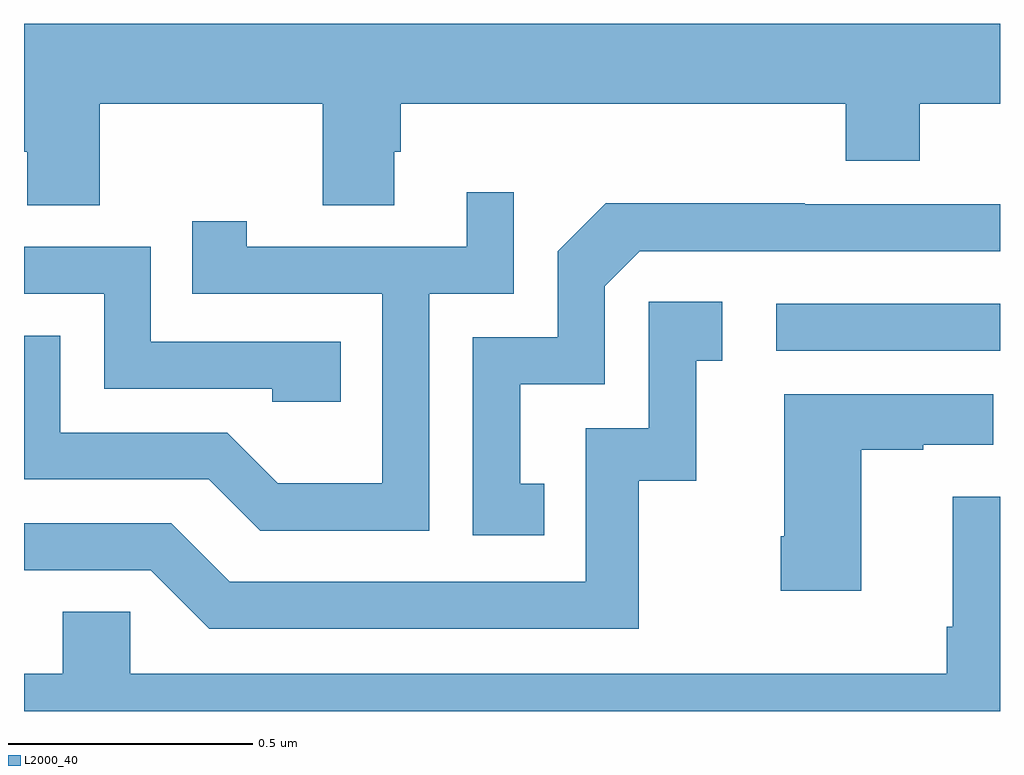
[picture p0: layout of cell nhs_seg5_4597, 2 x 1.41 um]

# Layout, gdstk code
import gdstk
lib = gdstk.Library(unit=1e-6, precision=1e-09)
def R(c, l, rs):  # rectangles x0, y0, x1, y1
    for r in rs: c.add(gdstk.rectangle(r[:2], r[2:], *l))
def P(c, l, *ps):  # polygons
    for p in ps: c.add(gdstk.Polygon(p, *l))
L2000_40 = (2000, 40)

nhs_seg5_4597 = lib.new_cell('nhs_seg5_4597')
R(nhs_seg5_4597, L2000_40, [(173.541,905.538,174,905.634)])
P(nhs_seg5_4597, L2000_40, [(172,905.946),(172.007,905.946),(172.007,905.836),(172.155,905.836),(172.155,906.044),(172.612,906.044),(172.612,905.836),(172.759,905.836),(172.759,905.946),(172.772,905.946),(172.772,906.044),(173.684,906.044),(173.684,905.927),(173.836,905.927),(173.836,906.044),(174,906.044),(174,906.208),(172,906.208)],
  [(172.83,905.655),(173.004,905.655),(173.004,905.863),(172.907,905.863),(172.907,905.751),(172.456,905.751),(172.456,905.803),(172.345,905.803),(172.345,905.655),(172.734,905.655),(172.734,905.266),(172.52,905.266),(172.416,905.37),(172.074,905.37),(172.074,905.569),(172,905.569),(172,905.274),(172.379,905.274),(172.484,905.169),(172.83,905.169)],
  [(173.066,905.265),(173.017,905.265),(173.017,905.469),(173.19,905.469),(173.19,905.67),(173.262,905.742),(174,905.742),(174,905.838),(173.6,905.838),(173.6,905.84),(173.192,905.84),(173.094,905.742),(173.094,905.565),(172.92,905.565),(172.92,905.16),(173.066,905.16)],
  [(172.649,905.556),(172.26,905.556),(172.26,905.751),(172,905.751),(172,905.655),(172.164,905.655),(172.164,905.46),(172.509,905.46),(172.509,905.433),(172.649,905.433)],
  [(173.26,905.271),(173.378,905.271),(173.378,905.517),(173.431,905.517),(173.431,905.638),(173.28,905.638),(173.28,905.379),(173.151,905.379),(173.151,905.064),(172.422,905.064),(172.302,905.184),(172,905.184),(172,905.088),(172.26,905.088),(172.38,904.968),(173.26,904.968)],
  [(173.716,905.335),(173.843,905.335),(173.843,905.345),(173.986,905.345),(173.986,905.449),(173.558,905.449),(173.558,905.158),(173.551,905.158),(173.551,905.046),(173.716,905.046)],
  [(174,905.239),(173.903,905.239),(173.903,904.972),(173.891,904.972),(173.891,904.876),(172.218,904.876),(172.218,905.003),(172.079,905.003),(172.079,904.876),(172,904.876),(172,904.799),(174,904.799)])

lib.write_gds('nhs_seg5_4597.gds')
